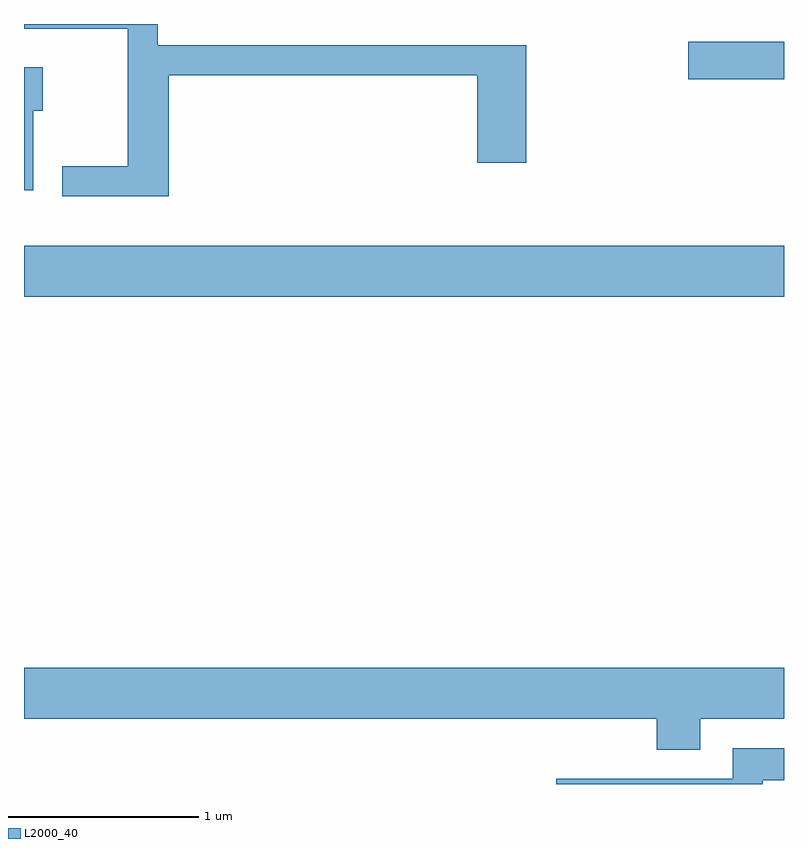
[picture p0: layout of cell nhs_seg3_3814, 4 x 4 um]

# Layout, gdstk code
import gdstk
lib = gdstk.Library(unit=1e-6, precision=1e-09)
def R(c, l, rs):  # rectangles x0, y0, x1, y1
    for r in rs: c.add(gdstk.rectangle(r[:2], r[2:], *l))
def P(c, l, *ps):  # polygons
    for p in ps: c.add(gdstk.Polygon(p, *l))
L2000_40 = (2000, 40)

nhs_seg3_3814 = lib.new_cell('nhs_seg3_3814')
R(nhs_seg3_3814, L2000_40, [(297.611,1130.456,301.611,1130.724), (301.106,1131.601,301.611,1131.799)])
P(nhs_seg3_3814, L2000_40, [(298.374,1131.621),(299.996,1131.621),(299.996,1131.161),(300.254,1131.161),(300.254,1131.779),(298.314,1131.779),(298.314,1131.892),(297.611,1131.892),(297.611,1131.866),(298.156,1131.866),(298.156,1131.144),(297.813,1131.144),(297.813,1130.986),(298.374,1130.986)],
  [(297.659,1131.436),(297.709,1131.436),(297.709,1131.664),(297.611,1131.664),(297.611,1131.016),(297.659,1131.016)],
  [(301.169,1128.236),(301.611,1128.236),(301.611,1128.504),(297.611,1128.504),(297.611,1128.236),(300.941,1128.236),(300.941,1128.071),(301.169,1128.071)],
  [(301.499,1127.911),(301.611,1127.911),(301.611,1128.079),(301.341,1128.079),(301.341,1127.919),(300.413,1127.919),(300.413,1127.892),(301.499,1127.892)])

lib.write_gds('nhs_seg3_3814.gds')
